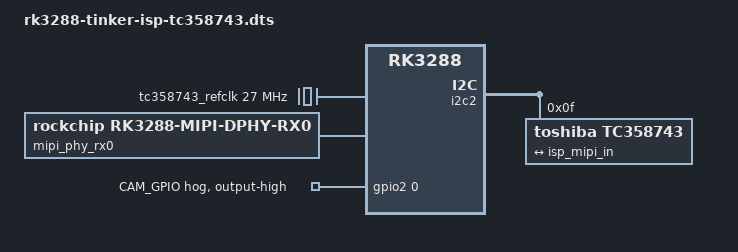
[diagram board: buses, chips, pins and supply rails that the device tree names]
// SPDX-License-Identifier: GPL-2.0
/*
 * Tinker Board: Geekworm C790 (TC358743 HDMI -> CSI-2, 2 lanes) on the
 * 15-pin camera connector, through the RK3288 ISP (rkisp1) and DPHY RX0.
 * Needs the patches in patches/camera/ (rk3288 support in rkisp1 and
 * phy-rockchip-dphy-rx0, LINK_FREQ/PIXEL_RATE in tc358743).
 *
 * Build: scripts/build-camera-overlays.sh  ->  rk3288-tinker-isp-tc358743.dtbo
 */
/dts-v1/;
/plugin/;

#include <dt-bindings/clock/rk3288-cru.h>
#include <dt-bindings/gpio/gpio.h>
#include <dt-bindings/interrupt-controller/arm-gic.h>
#include <dt-bindings/power/rk3288-power.h>

/ {
	compatible = "rockchip,rk3288-tinker", "rockchip,rk3288";

	fragment@0 {
		target-path = "/";
		__overlay__ {
			#address-cells = <2>;
			#size-cells = <2>;

			/* the C790 has a 27 MHz crystal of its own */
			tc358743_refclk: tc358743-refclk {
				compatible = "fixed-clock";
				#clock-cells = <0>;
				clock-frequency = <27000000>;
				clock-output-names = "tc358743-refclk";
			};

			isp: isp@ff910000 {
				compatible = "rockchip,rk3288-cif-isp";
				reg = <0x0 0xff910000 0x0 0x4000>;
				interrupts = <GIC_SPI 14 IRQ_TYPE_LEVEL_HIGH>;
				clocks = <&cru SCLK_ISP>, <&cru ACLK_ISP>,
					 <&cru HCLK_ISP>, <&cru PCLK_ISP_IN>,
					 <&cru SCLK_ISP_JPE>;
				clock-names = "isp", "aclk", "hclk", "pclk_in", "jpe";
				assigned-clocks = <&cru SCLK_ISP>, <&cru SCLK_ISP_JPE>;
				assigned-clock-rates = <400000000>, <400000000>;
				power-domains = <&power RK3288_PD_VIO>;
				iommus = <&isp_mmu>;
				phys = <&mipi_phy_rx0>;
				phy-names = "dphy";

				ports {
					#address-cells = <1>;
					#size-cells = <0>;

					port@0 {
						reg = <0>;
						#address-cells = <1>;
						#size-cells = <0>;

						isp_mipi_in: endpoint@0 {
							reg = <0>;
							remote-endpoint = <&tc358743_out>;
							data-lanes = <1 2>;
						};
					};
				};
			};
		};
	};

	fragment@1 {
		target = <&grf>;
		__overlay__ {
			mipi_phy_rx0: mipi-dphy-rx0 {
				compatible = "rockchip,rk3288-mipi-dphy-rx0";
				clocks = <&cru SCLK_MIPIDSI_24M>, <&cru PCLK_MIPI_CSI>;
				clock-names = "dphy-ref", "pclk";
				power-domains = <&power RK3288_PD_VIO>;
				#phy-cells = <0>;
			};
		};
	};

	fragment@2 {
		target = <&isp_mmu>;
		__overlay__ {
			status = "okay";
		};
	};

	/*
	 * The C790 wires FPC pin 11 (CAM_GPIO) but its use is not documented
	 * (pin 12 is unconnected; RESETN and INT are on the 5-pin SYS header).
	 * Drive it high: right for both an enable and an active-low reset.
	 */
	fragment@4 {
		target = <&gpio2>;
		__overlay__ {
			cam-gpio-hog {
				gpio-hog;
				gpios = <0 GPIO_ACTIVE_HIGH>;
				output-high;
				line-name = "CAM_GPIO";
			};
		};
	};

	/* camera connector I2C (same bus as the OV5647 in the vendor kernel) */
	fragment@3 {
		target = <&i2c2>;
		__overlay__ {
			#address-cells = <1>;
			#size-cells = <0>;
			status = "okay";

			tc358743: hdmi-bridge@f {
				compatible = "toshiba,tc358743";
				reg = <0x0f>;
				clocks = <&tc358743_refclk>;
				clock-names = "refclk";

				port {
					tc358743_out: endpoint {
						remote-endpoint = <&isp_mipi_in>;
						data-lanes = <1 2>;
						clock-lanes = <0>;
						clock-noncontinuous;
						/* 972 Mbit/s per lane: 1080p30 UYVY in 2 lanes */
						link-frequencies = /bits/ 64 <486000000>;
					};
				};
			};
		};
	};
};
